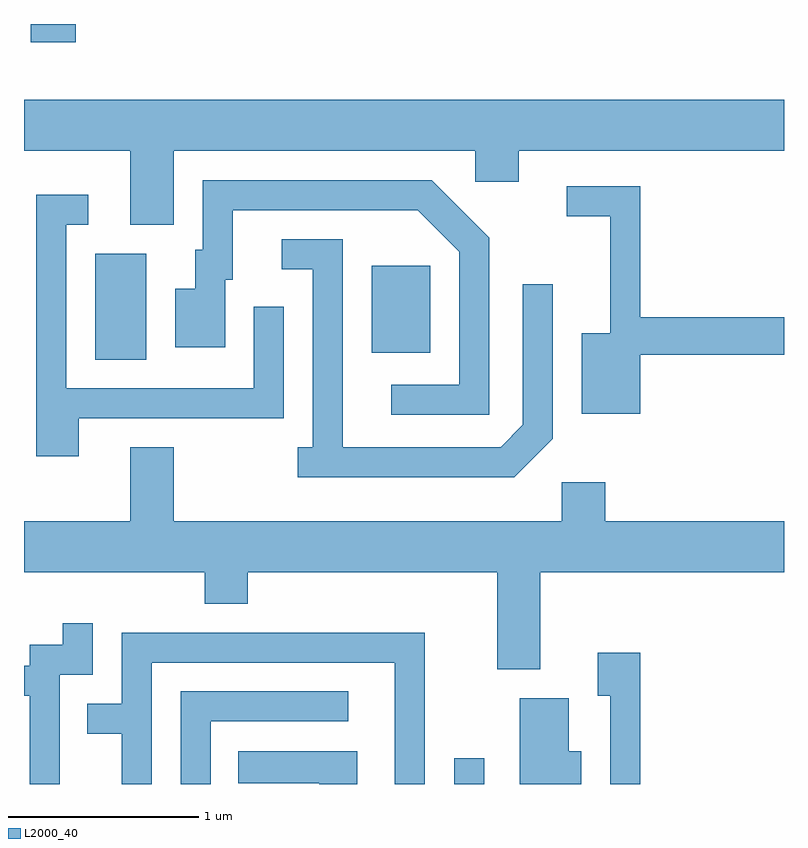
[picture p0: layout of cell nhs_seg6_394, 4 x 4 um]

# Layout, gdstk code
import gdstk
lib = gdstk.Library(unit=1e-6, precision=1e-09)
def R(c, l, rs):  # rectangles x0, y0, x1, y1
    for r in rs: c.add(gdstk.rectangle(r[:2], r[2:], *l))
def P(c, l, *ps):  # polygons
    for p in ps: c.add(gdstk.Polygon(p, *l))
L2000_40 = (2000, 40)

nhs_seg6_394 = lib.new_cell('nhs_seg6_394')
R(nhs_seg6_394, L2000_40, [(197.876,1642.162,198.034,1642.298), (195.986,1644.396,196.254,1644.954), (197.441,1644.431,197.749,1644.889), (195.646,1646.066,195.884,1646.162)])
P(nhs_seg6_394, L2000_40, [(196.399,1645.496),(197.986,1645.496),(197.986,1645.331),(198.214,1645.331),(198.214,1645.496),(199.611,1645.496),(199.611,1645.764),(195.611,1645.764),(195.611,1645.496),(196.171,1645.496),(196.171,1645.106),(196.399,1645.106)],
  [(198.059,1645.037),(197.757,1645.339),(196.551,1645.339),(196.551,1644.974),(196.511,1644.974),(196.511,1644.769),(196.406,1644.769),(196.406,1644.461),(196.669,1644.461),(196.669,1644.816),(196.709,1644.816),(196.709,1645.181),(197.684,1645.181),(197.901,1644.964),(197.901,1644.264),(197.543,1644.264),(197.543,1644.106),(198.059,1644.106)],
  [(198.854,1644.421),(199.611,1644.421),(199.611,1644.619),(198.854,1644.619),(198.854,1645.309),(198.468,1645.309),(198.468,1645.151),(198.696,1645.151),(198.696,1644.534),(198.546,1644.534),(198.546,1644.111),(198.854,1644.111)],
  [(195.899,1644.086),(196.979,1644.086),(196.979,1644.673),(196.821,1644.673),(196.821,1644.244),(195.834,1644.244),(195.834,1645.106),(195.948,1645.106),(195.948,1645.264),(195.676,1645.264),(195.676,1643.886),(195.899,1643.886)],
  [(198.394,1643.979),(198.394,1644.793),(198.236,1644.793),(198.236,1644.052),(198.119,1643.934),(197.289,1643.934),(197.289,1645.029),(196.968,1645.029),(196.968,1644.871),(197.131,1644.871),(197.131,1643.934),(197.053,1643.934),(197.053,1643.776),(198.192,1643.776)],
  [(198.329,1643.276),(199.611,1643.276),(199.611,1643.544),(198.669,1643.544),(198.669,1643.749),(198.441,1643.749),(198.441,1643.544),(196.399,1643.544),(196.399,1643.934),(196.171,1643.934),(196.171,1643.544),(195.611,1643.544),(195.611,1643.276),(196.561,1643.276),(196.561,1643.111),(196.789,1643.111),(196.789,1643.276),(198.101,1643.276),(198.101,1642.766),(198.329,1642.766)],
  [(195.799,1642.736),(195.974,1642.736),(195.974,1643.008),(195.816,1643.008),(195.816,1642.894),(195.641,1642.894),(195.641,1642.784),(195.611,1642.784),(195.611,1642.626),(195.641,1642.626),(195.641,1642.162),(195.799,1642.162)],
  [(196.284,1642.801),(197.561,1642.801),(197.561,1642.162),(197.719,1642.162),(197.719,1642.959),(196.126,1642.959),(196.126,1642.584),(195.943,1642.584),(195.943,1642.426),(196.126,1642.426),(196.126,1642.162),(196.284,1642.162)],
  [(198.854,1642.854),(198.631,1642.854),(198.631,1642.626),(198.696,1642.626),(198.696,1642.162),(198.854,1642.162)],
  [(196.594,1642.491),(197.318,1642.491),(197.318,1642.649),(196.436,1642.649),(196.436,1642.162),(196.594,1642.162)],
  [(198.544,1642.334),(198.479,1642.334),(198.479,1642.614),(198.221,1642.614),(198.221,1642.162),(198.544,1642.162)],
  [(197.364,1642.334),(196.738,1642.334),(196.738,1642.166),(197.166,1642.166),(197.166,1642.162),(197.364,1642.162)])

lib.write_gds('nhs_seg6_394.gds')
